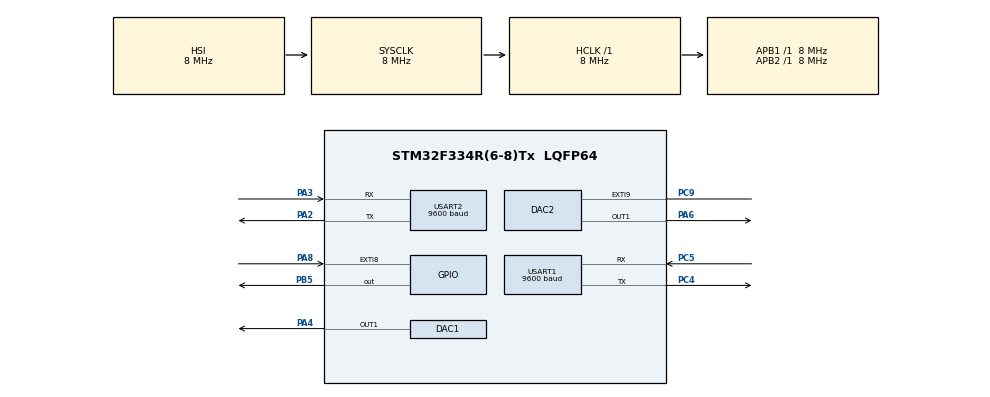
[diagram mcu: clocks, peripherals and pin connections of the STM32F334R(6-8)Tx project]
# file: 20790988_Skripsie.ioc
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DAC1.DAC_OutputBuffer=DAC_OUTPUTBUFFER_DISABLE
DAC1.DAC_Trigger=DAC_TRIGGER_T6_TRGO
DAC2.DAC_Trigger=DAC_TRIGGER_T6_TRGO
Dma.DAC1_CH1.0.Direction=DMA_MEMORY_TO_PERIPH
Dma.DAC1_CH1.0.Instance=DMA1_Channel3
Dma.DAC1_CH1.0.MemDataAlignment=DMA_MDATAALIGN_BYTE
Dma.DAC1_CH1.0.MemInc=DMA_MINC_ENABLE
Dma.DAC1_CH1.0.Mode=DMA_NORMAL
Dma.DAC1_CH1.0.PeriphDataAlignment=DMA_PDATAALIGN_WORD
Dma.DAC1_CH1.0.PeriphInc=DMA_PINC_DISABLE
Dma.DAC1_CH1.0.Priority=DMA_PRIORITY_VERY_HIGH
Dma.DAC2_CH1.1.Direction=DMA_MEMORY_TO_PERIPH
Dma.DAC2_CH1.1.Instance=DMA1_Channel5
Dma.DAC2_CH1.1.MemDataAlignment=DMA_MDATAALIGN_BYTE
Dma.DAC2_CH1.1.MemInc=DMA_MINC_ENABLE
Dma.DAC2_CH1.1.Mode=DMA_CIRCULAR
Dma.DAC2_CH1.1.PeriphDataAlignment=DMA_PDATAALIGN_WORD
Dma.DAC2_CH1.1.PeriphInc=DMA_PINC_DISABLE
Dma.DAC2_CH1.1.Priority=DMA_PRIORITY_HIGH
Dma.Request0=DAC1_CH1
Dma.Request1=DAC2_CH1
Mcu.Family=STM32F3
Mcu.Name=STM32F334R(6-8)Tx
Mcu.Package=LQFP64
NVIC.DMA1_Channel3_IRQn=true\:0\:0\:false\:false\:true\:true\:true
NVIC.EXTI9_5_IRQn=true\:0\:0\:false\:false\:true\:true\:true
NVIC.PriorityGroup=NVIC_PRIORITYGROUP_4
NVIC.TIM2_IRQn=true\:0\:0\:false\:false\:true\:true\:true
NVIC.TIM6_DAC1_IRQn=true\:0\:0\:false\:false\:true\:true\:true
NVIC.TIM7_DAC2_IRQn=true\:0\:0\:false\:false\:true\:true\:true
NVIC.USART1_IRQn=true\:0\:0\:true\:true\:true\:1\:true\:true
NVIC.USART2_IRQn=true\:0\:0\:false\:true\:true\:2\:true\:true
PA2.Mode=Asynchronous
PA2.Signal=USART2_TX
PA3.Mode=Asynchronous
PA3.Signal=USART2_RX
PA4.Signal=COMP_DAC11_group
PA6.Signal=COMP_DAC21_group
PA8.GPIO_PuPd=GPIO_PULLDOWN
PA8.Signal=GPXTI8
PB5.Signal=GPIO_Output
PC4.Mode=Asynchronous
PC4.Signal=USART1_TX
PC5.Mode=Asynchronous
PC5.Signal=USART1_RX
PC9.Signal=GPXTI9
PF0\ /\ OSC_IN.Mode=HSE-External-Oscillator
PF0\ /\ OSC_IN.Signal=RCC_OSC_IN
PF1\ /\ OSC_OUT.Mode=HSE-External-Oscillator
PF1\ /\ OSC_OUT.Signal=RCC_OSC_OUT
ProjectManager.HeapSize=0x200
ProjectManager.StackSize=0x400
ProjectManager.TargetToolchain=STM32CubeIDE
RCC.AHBFreq_Value=8000000
RCC.APB1Freq_Value=8000000
RCC.APB2Freq_Value=8000000
RCC.CortexFreq_Value=8000000
RCC.HSE_VALUE=8000000
RCC.HSI_VALUE=8000000
RCC.LSE_VALUE=32768
RCC.SYSCLKFreq_VALUE=8000000
SH.COMP_DAC11_group.0=DAC1_OUT1,DAC_OUT1
SH.COMP_DAC21_group.0=DAC2_OUT1,Switch_Enable_OUT1
TIM2.Period=1999
TIM2.Prescaler=1999
TIM2.TIM_MasterOutputTrigger=TIM_TRGO_UPDATE
TIM6.Period=198
TIM6.Prescaler=7
TIM6.TIM_MasterOutputTrigger=TIM_TRGO_UPDATE
USART1.BaudRate=9600
USART1.VirtualMode-Asynchronous=VM_ASYNC
USART2.BaudRate=9600
USART2.SwapParam=ADVFEATURE_SWAP_DISABLE
USART2.VirtualMode-Asynchronous=VM_ASYNC
VP_TIM2_VS_ClockSourceINT.Mode=Internal
VP_TIM6_VS_ClockSourceINT.Mode=Enable_Timer
board=custom

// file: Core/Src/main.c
/* USER CODE BEGIN Header */
/**
 ******************************************************************************
 * @file           : main.c
 * @brief          : Main program body
 ******************************************************************************
 * @attention
 *
 * <h2><center>&copy; Copyright (c) 2020 STMicroelectronics.
 * All rights reserved.</center></h2>
 *
 * This software component is licensed by ST under BSD 3-Clause license,
 * the "License"; You may not use this file except in compliance with the
 * License. You may obtain a copy of the License at:
 *                        opensource.org/licenses/BSD-3-Clause
 *
 ******************************************************************************
 */
/* USER CODE END Header */
#include "main.h"

/* USER CODE BEGIN Includes */
#include "usercode.h"
#include "stdio.h"
#include "gps_parsing.h"
/* USER CODE END Includes */

DAC_HandleTypeDef hdac1;
DAC_HandleTypeDef hdac2;
DMA_HandleTypeDef hdma_dac1_ch1;
DMA_HandleTypeDef hdma_dac2_ch1;

TIM_HandleTypeDef htim2;
TIM_HandleTypeDef htim6;

UART_HandleTypeDef huart1;
UART_HandleTypeDef huart2;

/* USER CODE BEGIN PV */
extern volatile receiver_t PC_UART;
extern volatile receiver_t GPS_UART;
extern char pc_message[];
extern char gps_message[];
extern volatile int pc_message_length;
extern volatile int gps_message_length;
extern char timecode[];

extern uint8_t timecode_pulse[];

extern bool should_concat_timecode;

gps_t current_module = ADAFRUIT;

/* USER CODE END PV */

void SystemClock_Config(void);
static void MX_GPIO_Init(void);
static void MX_DMA_Init(void);
static void MX_USART2_UART_Init(void);
static void MX_USART1_UART_Init(void);
static void MX_DAC1_Init(void);
static void MX_TIM2_Init(void);
static void MX_TIM6_Init(void);
static void MX_DAC2_Init(void);
static void MX_NVIC_Init(void);

int main(void)
{

  /* MCU Configuration--------------------------------------------------------*/

  /* Reset of all peripherals, Initializes the Flash interface and the Systick. */
  HAL_Init();

  /* Configure the system clock */
  SystemClock_Config();

  /* Initialize all configured peripherals */
  MX_GPIO_Init();
  MX_DMA_Init();
  MX_USART2_UART_Init();
  MX_USART1_UART_Init();
  MX_DAC1_Init();
  MX_TIM2_Init();
  MX_TIM6_Init();
  MX_DAC2_Init();

  /* Initialize interrupts */
  MX_NVIC_Init();
  /* USER CODE BEGIN 2 */
    __HAL_UART_ENABLE_IT(&huart2, UART_IT_RXNE);
    __HAL_UART_ENABLE_IT(&huart2, UART_IT_TC);
    __HAL_UART_ENABLE_IT(&huart1, UART_IT_RXNE);
    __HAL_UART_ENABLE_IT(&huart1, UART_IT_TC);

    HAL_TIM_Base_Start_IT(&htim2);

    concat_timecode();

  /* USER CODE END 2 */

  /* Infinite loop */
  /* USER CODE BEGIN WHILE */
    while (1)
    {

        if (PC_UART == DONE)
        {

            if (is_same_string("ping", pc_message, 4))
            {
                HAL_UART_Transmit_IT(&huart2, (uint8_t*) "pong\n", 5);
            }

//            if (is_same_string("NMEAquery", pc_message, 9))
//            {
//                HAL_UART_Transmit_IT(&huart2, (uint8_t*) "query\n", 6);
//                HAL_UART_Transmit_IT(&huart1, (uint8_t*) "$PMTK414*33\r\n", 13);
//            }

            if (is_same_string("NMEAset", pc_message, 7))
            {
                if (current_module == ADAFRUIT)
                {
                    HAL_UART_Transmit_IT(&huart1,
                            (uint8_t*) "$PMTK314,0,1,0,0,0,0,0,0,0,0,0,0,0,0,0,0,0,0,0*29\r\n",
                            51);
                }
                else if (current_module == NEO)
                {
                    HAL_UART_Transmit_IT(&huart1,
                            (uint8_t*) "$PCAS03,0,0,0,0,1,0,0,0*03\r\n     $PCAS04,1*18\r\n", 47);
//                    HAL_Delay(50);
//                    HAL_UART_Transmit_IT(&huart1, (uint8_t*) "$PCAS04,1*18\r\n",
//                            14);
                }
            }

            if (is_same_string("NMEAreset", pc_message, 9))
            {
                if (current_module == ADAFRUIT)
                {
                    HAL_UART_Transmit_IT(&huart1, (uint8_t*) "$PMTK104*37\r\n",
                                                               13);

                }
                else if (current_module == NEO)
                {
                    HAL_UART_Transmit_IT(&huart1, (uint8_t*) "$PCAS10,3*1F\r\n",
                                            14);
                }
            }

            if (is_same_string("GPSset", pc_message, 6))
            {
                if (is_same_string("neo", &pc_message[6], 3))
                {
                    current_module = NEO;
                    HAL_UART_Transmit_IT(&huart2, (uint8_t*) "GPS module set to NEO\n", 22);
                }
                else if (is_same_string("ada", &pc_message[6], 3))
                {
                    current_module = ADAFRUIT;
                    HAL_UART_Transmit_IT(&huart2, (uint8_t*) "GPS module set to Adafruit\n", 27);
                }
            }

            PC_UART = IDLE;
        }

        if (GPS_UART == DONE)
        {
            bool correct_msg_type = parse_nmea(gps_message, gps_message_length);

            gps_message[gps_message_length] = '\n';
            HAL_UART_Transmit_IT(&huart2, (uint8_t*) gps_message,
                    gps_message_length + 1);

            GPS_UART = IDLE;
        }

        if (should_concat_timecode)
        {
            concat_timecode();
            should_concat_timecode = false;
        }

        /* USER CODE END WHILE */

    }
}

void SystemClock_Config(void)
{
  RCC_OscInitTypeDef RCC_OscInitStruct = {0};
  RCC_ClkInitTypeDef RCC_ClkInitStruct = {0};
  RCC_PeriphCLKInitTypeDef PeriphClkInit = {0};

  /** Initializes the RCC Oscillators according to the specified parameters
  * in the RCC_OscInitTypeDef structure.
  */
  RCC_OscInitStruct.OscillatorType = RCC_OSCILLATORTYPE_HSI;
  RCC_OscInitStruct.HSIState = RCC_HSI_ON;
  RCC_OscInitStruct.HSICalibrationValue = RCC_HSICALIBRATION_DEFAULT;
  RCC_OscInitStruct.PLL.PLLState = RCC_PLL_NONE;
  if (HAL_RCC_OscConfig(&RCC_OscInitStruct) != HAL_OK)
  {
    Error_Handler();
  }
  /** Initializes the CPU, AHB and APB buses clocks
  */
  RCC_ClkInitStruct.ClockType = RCC_CLOCKTYPE_HCLK|RCC_CLOCKTYPE_SYSCLK
                              |RCC_CLOCKTYPE_PCLK1|RCC_CLOCKTYPE_PCLK2;
  RCC_ClkInitStruct.SYSCLKSource = RCC_SYSCLKSOURCE_HSI;
  RCC_ClkInitStruct.AHBCLKDivider = RCC_SYSCLK_DIV1;
  RCC_ClkInitStruct.APB1CLKDivider = RCC_HCLK_DIV1;
  RCC_ClkInitStruct.APB2CLKDivider = RCC_HCLK_DIV1;

  if (HAL_RCC_ClockConfig(&RCC_ClkInitStruct, FLASH_LATENCY_0) != HAL_OK)
  {
    Error_Handler();
  }
  PeriphClkInit.PeriphClockSelection = RCC_PERIPHCLK_USART1;
  PeriphClkInit.Usart1ClockSelection = RCC_USART1CLKSOURCE_PCLK1;
  if (HAL_RCCEx_PeriphCLKConfig(&PeriphClkInit) != HAL_OK)
  {
    Error_Handler();
  }
}

/**
  * @brief NVIC Configuration.
  * @retval None
  */
static void MX_NVIC_Init(void)
{
  /* USART1_IRQn interrupt configuration */
  HAL_NVIC_SetPriority(USART1_IRQn, 0, 0);
  HAL_NVIC_EnableIRQ(USART1_IRQn);
  /* USART2_IRQn interrupt configuration */
  HAL_NVIC_SetPriority(USART2_IRQn, 0, 0);
  HAL_NVIC_EnableIRQ(USART2_IRQn);
}

static void MX_DAC1_Init(void)
{

  DAC_ChannelConfTypeDef sConfig = {0};

  /** DAC Initialization
  */
  hdac1.Instance = DAC1;
  if (HAL_DAC_Init(&hdac1) != HAL_OK)
  {
    Error_Handler();
  }
  /** DAC channel OUT1 config
  */
  sConfig.DAC_Trigger = DAC_TRIGGER_T6_TRGO;
  sConfig.DAC_OutputBuffer = DAC_OUTPUTBUFFER_DISABLE;
  if (HAL_DAC_ConfigChannel(&hdac1, &sConfig, DAC_CHANNEL_1) != HAL_OK)
  {
    Error_Handler();
  }

}

static void MX_DAC2_Init(void)
{

  DAC_ChannelConfTypeDef sConfig = {0};

  /** DAC Initialization
  */
  hdac2.Instance = DAC2;
  if (HAL_DAC_Init(&hdac2) != HAL_OK)
  {
    Error_Handler();
  }
  /** DAC channel OUT1 config
  */
  sConfig.DAC_Trigger = DAC_TRIGGER_T6_TRGO;
  sConfig.DAC_OutputSwitch = DAC_OUTPUTSWITCH_ENABLE;
  if (HAL_DAC_ConfigChannel(&hdac2, &sConfig, DAC_CHANNEL_1) != HAL_OK)
  {
    Error_Handler();
  }

}

static void MX_TIM2_Init(void)
{

  TIM_ClockConfigTypeDef sClockSourceConfig = {0};
  TIM_MasterConfigTypeDef sMasterConfig = {0};

  htim2.Instance = TIM2;
  htim2.Init.Prescaler = 1999;
  htim2.Init.CounterMode = TIM_COUNTERMODE_UP;
  htim2.Init.Period = 1999;
  htim2.Init.ClockDivision = TIM_CLOCKDIVISION_DIV1;
  htim2.Init.AutoReloadPreload = TIM_AUTORELOAD_PRELOAD_DISABLE;
  if (HAL_TIM_Base_Init(&htim2) != HAL_OK)
  {
    Error_Handler();
  }
  sClockSourceConfig.ClockSource = TIM_CLOCKSOURCE_INTERNAL;
  if (HAL_TIM_ConfigClockSource(&htim2, &sClockSourceConfig) != HAL_OK)
  {
    Error_Handler();
  }
  sMasterConfig.MasterOutputTrigger = TIM_TRGO_UPDATE;
  sMasterConfig.MasterSlaveMode = TIM_MASTERSLAVEMODE_DISABLE;
  if (HAL_TIMEx_MasterConfigSynchronization(&htim2, &sMasterConfig) != HAL_OK)
  {
    Error_Handler();
  }

}

static void MX_TIM6_Init(void)
{

  TIM_MasterConfigTypeDef sMasterConfig = {0};

  htim6.Instance = TIM6;
  htim6.Init.Prescaler = 7;
  htim6.Init.CounterMode = TIM_COUNTERMODE_UP;
  htim6.Init.Period = 198;
  htim6.Init.AutoReloadPreload = TIM_AUTORELOAD_PRELOAD_DISABLE;
  if (HAL_TIM_Base_Init(&htim6) != HAL_OK)
  {
    Error_Handler();
  }
  sMasterConfig.MasterOutputTrigger = TIM_TRGO_UPDATE;
  sMasterConfig.MasterSlaveMode = TIM_MASTERSLAVEMODE_DISABLE;
  if (HAL_TIMEx_MasterConfigSynchronization(&htim6, &sMasterConfig) != HAL_OK)
  {
    Error_Handler();
  }

}

static void MX_USART1_UART_Init(void)
{

  huart1.Instance = USART1;
  huart1.Init.BaudRate = 9600;
  huart1.Init.WordLength = UART_WORDLENGTH_8B;
  huart1.Init.StopBits = UART_STOPBITS_1;
  huart1.Init.Parity = UART_PARITY_NONE;
  huart1.Init.Mode = UART_MODE_TX_RX;
  huart1.Init.HwFlowCtl = UART_HWCONTROL_NONE;
  huart1.Init.OverSampling = UART_OVERSAMPLING_16;
  huart1.Init.OneBitSampling = UART_ONE_BIT_SAMPLE_DISABLE;
  huart1.AdvancedInit.AdvFeatureInit = UART_ADVFEATURE_NO_INIT;
  if (HAL_UART_Init(&huart1) != HAL_OK)
  {
    Error_Handler();
  }

}

static void MX_USART2_UART_Init(void)
{

  huart2.Instance = USART2;
  huart2.Init.BaudRate = 9600;
  huart2.Init.WordLength = UART_WORDLENGTH_8B;
  huart2.Init.StopBits = UART_STOPBITS_1;
  huart2.Init.Parity = UART_PARITY_NONE;
  huart2.Init.Mode = UART_MODE_TX_RX;
  huart2.Init.HwFlowCtl = UART_HWCONTROL_NONE;
  huart2.Init.OverSampling = UART_OVERSAMPLING_16;
  huart2.Init.OneBitSampling = UART_ONE_BIT_SAMPLE_DISABLE;
  huart2.AdvancedInit.AdvFeatureInit = UART_ADVFEATURE_NO_INIT;
  if (HAL_UART_Init(&huart2) != HAL_OK)
  {
    Error_Handler();
  }
  /* USER CODE BEGIN USART2_Init 2 */
    __HAL_UART_ENABLE_IT(&huart2, UART_FLAG_RXNE);
    __HAL_UART_ENABLE_IT(&huart2, UART_FLAG_TC);

  /* USER CODE END USART2_Init 2 */

}

static void MX_DMA_Init(void)
{

  /* DMA controller clock enable */
  __HAL_RCC_DMA1_CLK_ENABLE();

  /* DMA interrupt init */
  /* DMA1_Channel3_IRQn interrupt configuration */
  HAL_NVIC_SetPriority(DMA1_Channel3_IRQn, 0, 0);
  HAL_NVIC_EnableIRQ(DMA1_Channel3_IRQn);

}

static void MX_GPIO_Init(void)
{
  GPIO_InitTypeDef GPIO_InitStruct = {0};

  /* GPIO Ports Clock Enable */
  __HAL_RCC_GPIOF_CLK_ENABLE();
  __HAL_RCC_GPIOA_CLK_ENABLE();
  __HAL_RCC_GPIOC_CLK_ENABLE();
  __HAL_RCC_GPIOB_CLK_ENABLE();

  /*Configure GPIO pin Output Level */
  HAL_GPIO_WritePin(GPIOB, GPIO_PIN_5, GPIO_PIN_RESET);

  /*Configure GPIO pin : PC9 */
  GPIO_InitStruct.Pin = GPIO_PIN_9;
  GPIO_InitStruct.Mode = GPIO_MODE_IT_RISING;
  GPIO_InitStruct.Pull = GPIO_NOPULL;
  HAL_GPIO_Init(GPIOC, &GPIO_InitStruct);

  /*Configure GPIO pin : PA8 */
  GPIO_InitStruct.Pin = GPIO_PIN_8;
  GPIO_InitStruct.Mode = GPIO_MODE_IT_RISING;
  GPIO_InitStruct.Pull = GPIO_PULLDOWN;
  HAL_GPIO_Init(GPIOA, &GPIO_InitStruct);

  /*Configure GPIO pin : PB5 */
  GPIO_InitStruct.Pin = GPIO_PIN_5;
  GPIO_InitStruct.Mode = GPIO_MODE_OUTPUT_PP;
  GPIO_InitStruct.Pull = GPIO_NOPULL;
  GPIO_InitStruct.Speed = GPIO_SPEED_FREQ_LOW;
  HAL_GPIO_Init(GPIOB, &GPIO_InitStruct);

  /* EXTI interrupt init*/
  HAL_NVIC_SetPriority(EXTI9_5_IRQn, 0, 0);
  HAL_NVIC_EnableIRQ(EXTI9_5_IRQn);

}

void Error_Handler(void)
{
}

/************************ (C) COPYRIGHT STMicroelectronics *****END OF FILE****/
